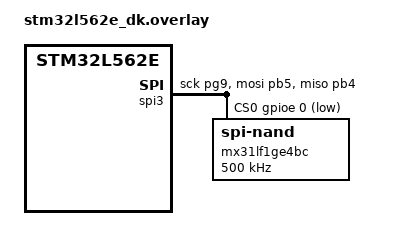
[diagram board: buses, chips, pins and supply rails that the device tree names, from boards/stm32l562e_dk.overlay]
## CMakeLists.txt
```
# SPDX-License-Identifier: Apache-2.0

cmake_minimum_required(VERSION 3.13.1)
find_package(Zephyr REQUIRED HINTS $ENV{ZEPHYR_BASE})
project(spi_nand)

FILE(GLOB app_sources src/*.c)
target_sources(app PRIVATE ${app_sources})
```

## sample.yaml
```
sample:
  name: SPI NAND Flash Sample
tests:
  sample.drivers.spi.nand.flash:
    tags: spi nand
    filter: dt_compat_enabled("jedec,spi-nand")
    harness: console
    harness_config:
      type: multi_line
      ordered: true
      regex:
        - "Test 1: Flash erase"
        - "Flash erase succeeded!"
        - "Test 2: Flash write"
        - "Attempting to write 4 bytes"
        - "Data read matches data written. Good!!"
    depends_on: spi
```

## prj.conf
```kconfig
CONFIG_STDOUT_CONSOLE=y
CONFIG_FLASH=y
CONFIG_HEAP_MEM_POOL_SIZE=100000
```

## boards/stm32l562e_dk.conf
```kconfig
#
# Copyright (c) 2022-2025 Macronix International Co., Ltd.
#
# SPDX-License-Identifier: Apache-2.0
#

CONFIG_SPI=y
CONFIG_SPI_NAND=y
CONFIG_SPI_ASYNC=y
CONFIG_SPI_LOG_LEVEL_INF=y
CONFIG_SPI_STM32_DMA=y
```

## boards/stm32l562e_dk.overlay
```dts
/*
 * Copyright (c) 2022-2025 Macronix International Co., Ltd.
 *
 * SPDX-License-Identifier: Apache-2.0
 */

&spi3 {
	pinctrl-0 = <&spi3_sck_pg9 &spi3_mosi_pb5 &spi3_miso_pb4>;
	cs-gpios = <&gpioe 0 (GPIO_ACTIVE_LOW | GPIO_PULL_UP)>;
	status = "okay";

	mx31lf1ge4bc: spi_nand_flash@0 {
		compatible = "jedec,spi-nand";
		reg = <0>;
		spi-max-frequency = <500000>;
		id = [c2 14];
		cs-wait-delay = <0>;
		flash-size = <134217728>;
		page-size = <2048>;
		status = "okay";
	};
};
```

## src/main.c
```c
/*
 * Copyright (c) 2022-2025 Macronix International Co., Ltd.
 *
 * SPDX-License-Identifier: Apache-2.0
 */

#include <zephyr/kernel.h>
#include <zephyr/drivers/flash.h>
#include <zephyr/device.h>
#include <zephyr/devicetree.h>
#include <stdio.h>
#include <string.h>

#define SPI_NAND_TEST_REGION_OFFSET 0x40000
#define SPI_NAND_BLOCK_SIZE         0x20000U
#define SPI_NAND_PAGE_SIZE          0x800

#if defined(CONFIG_FLASH_STM32_OSPI) || defined(CONFIG_FLASH_STM32_QSPI) ||                        \
	defined(CONFIG_FLASH_STM32_XSPI)
#define SPI_NAND_MULTI_SECTOR_TEST
#endif

#if DT_HAS_COMPAT_STATUS_OKAY(jedec_spi_nand)
#define SPI_NAND_COMPAT jedec_spi_nand
#else
#define SPI_NAND_COMPAT invalid
#endif

void single_sector_test(const struct device *flash_dev)
{
	const size_t len = SPI_NAND_PAGE_SIZE;
	uint8_t buf[SPI_NAND_PAGE_SIZE];
	int rc;
	uint8_t *buf_wr = (uint8_t * )malloc (SPI_NAND_PAGE_SIZE);
	uint8_t *erased = (uint8_t * )malloc (SPI_NAND_PAGE_SIZE);

	memset (erased, 0xff, SPI_NAND_PAGE_SIZE);
	for (int n = 0; n < SPI_NAND_PAGE_SIZE; n++) {
		buf_wr[n] = rand() % 0x100;
	}

	printf("\nPerform test on single sector");
	/* Write protection needs to be disabled before each write or
	 * erase, since the flash component turns on write protection
	 * automatically after completion of write and erase
	 * operations.
	 */
	printf("\nTest 1: Flash erase\n");

	/* Full flash erase if SPI_NAND_TEST_REGION_OFFSET = 0 and
	 * SPI_NAND_BLOCK_SIZE = flash size
	 */
	rc = flash_erase(flash_dev, SPI_NAND_TEST_REGION_OFFSET, SPI_NAND_BLOCK_SIZE);
	if (rc != 0) {
		printf("Flash erase failed! %d\n", rc);
	} else {
		/* Check erased pattern */
		memset(buf, 0, len);
		rc = flash_read(flash_dev, SPI_NAND_TEST_REGION_OFFSET, buf, len);
		if (rc != 0) {
			printf("Flash read failed! %d\n", rc);
			return;
		}
		if (memcmp(erased, buf, len) != 0) {
			printf("Flash erase failed at offset 0x%x got 0x%x\n",
			       SPI_NAND_TEST_REGION_OFFSET, *(uint32_t *)buf);
			return;
		}
		printf("Flash erase succeeded!\n");
	}
	printf("\nTest 2: Flash write\n");

	printf("Attempting to write %zu bytes\n", len);
	rc = flash_write(flash_dev, SPI_NAND_TEST_REGION_OFFSET, buf_wr, len);
	if (rc != 0) {
		printf("Flash write failed! %d\n", rc);
		return;
	}

	memset(buf, 0, len);
	rc = flash_read(flash_dev, SPI_NAND_TEST_REGION_OFFSET, buf, len);
	if (rc != 0) {
		printf("Flash read failed! %d\n", rc);
		return;
	}

	if (memcmp(buf_wr, buf, len) == 0) {
		printf("Data read matches data written. Good!!\n");
	} else {
		const uint8_t *wp = buf_wr;
		const uint8_t *rp = buf;
		const uint8_t *rpe = rp + len;

		printf("Data read does not match data written!!\n");
		while (rp < rpe) {
			printf("%08x wrote %02x read %02x %s\n",
			       (uint32_t)(SPI_NAND_TEST_REGION_OFFSET + (rp - buf)), *wp, *rp,
			       (*rp == *wp) ? "match" : "MISMATCH");
			++rp;
			++wp;
		}
	}
}

#if defined SPI_NAND_MULTI_SECTOR_TEST
void multi_sector_test(const struct device *flash_dev)
{
	const size_t len = sizeof(SPI_NAND_PAGE_SIZE);
	uint8_t buf[SPI_NAND_PAGE_SIZE];
	int rc;
	uint8_t *buf_wr = (uint8_t * )malloc (SPI_NAND_PAGE_SIZE);
	uint8_t *erased = (uint8_t * )malloc (SPI_NAND_PAGE_SIZE);

	memset (erased, 0xff, SPI_NAND_PAGE_SIZE);
	for (int n = 0; n < SPI_NAND_PAGE_SIZE; n++) {
		buf_wr[n] = rand() % 0x100;
	}
	printf("\nPerform test on multiple consecutive sectors");

	/* Write protection needs to be disabled before each write or
	 * erase, since the flash component turns on write protection
	 * automatically after completion of write and erase
	 * operations.
	 */
	printf("\nTest 1: Flash erase\n");

	/* Full flash erase if SPI_NAND_TEST_REGION_OFFSET = 0 and
	 * SPI_NAND_BLOCK_SIZE = flash size
	 * Erase 2 sectors for check for erase of consequtive sectors
	 */
	rc = flash_erase(flash_dev, SPI_NAND_TEST_REGION_OFFSET, SPI_NAND_BLOCK_SIZE * 2);
	if (rc != 0) {
		printf("Flash erase failed! %d\n", rc);
	} else {
		/* Read the content and check for erased */
		memset(buf, 0, len);
		size_t offs = SPI_NAND_TEST_REGION_OFFSET;

		while (offs < SPI_NAND_TEST_REGION_OFFSET + 2 * SPI_NAND_BLOCK_SIZE) {
			rc = flash_read(flash_dev, offs, buf, len);
			if (rc != 0) {
				printf("Flash read failed! %d\n", rc);
				return;
			}
			if (memcmp(erased, buf, len) != 0) {
				printf("Flash erase failed at offset 0x%x got 0x%x\n", offs,
				       *(uint32_t *)buf);
				return;
			}
			offs += SPI_NAND_BLOCK_SIZE;
		}
		printf("Flash erase succeeded!\n");
	}

	printf("\nTest 2: Flash write\n");

	size_t offs = SPI_NAND_TEST_REGION_OFFSET;

	while (offs < SPI_NAND_TEST_REGION_OFFSET + 2 * SPI_NAND_BLOCK_SIZE) {
		printf("Attempting to write %zu bytes at offset 0x%x\n", len, offs);
		rc = flash_write(flash_dev, offs, buf_wr, len);
		if (rc != 0) {
			printf("Flash write failed! %d\n", rc);
			return;
		}

		memset(buf, 0, len);
		rc = flash_read(flash_dev, offs, buf, len);
		if (rc != 0) {
			printf("Flash read failed! %d\n", rc);
			return;
		}

		if (memcmp(buf_wr, buf, len) == 0) {
			printf("Data read matches data written. Good!!\n");
		} else {
			const uint8_t *wp = buf_wr;
			const uint8_t *rp = buf;
			const uint8_t *rpe = rp + len;

			printf("Data read does not match data written!!\n");
			while (rp < rpe) {
				printf("%08x wrote %02x read %02x %s\n",
				       (uint32_t)(offs + (rp - buf)), *wp, *rp,
				       (*rp == *wp) ? "match" : "MISMATCH");
				++rp;
				++wp;
			}
		}
		offs += SPI_NAND_BLOCK_SIZE;
	}
}
#endif

int main(void)
{
	const struct device *flash_dev = DEVICE_DT_GET_ONE(SPI_NAND_COMPAT);

	if (!device_is_ready(flash_dev)) {
		printk("%s: device not ready.\n", flash_dev->name);
		return 0;
	}

	printf("\n%s SPI NAND flash testing\n", flash_dev->name);
	printf("==========================\n");

	single_sector_test(flash_dev);
#if defined SPI_NAND_MULTI_SECTOR_TEST
	multi_sector_test(flash_dev);
#endif
	return 0;
}
```
